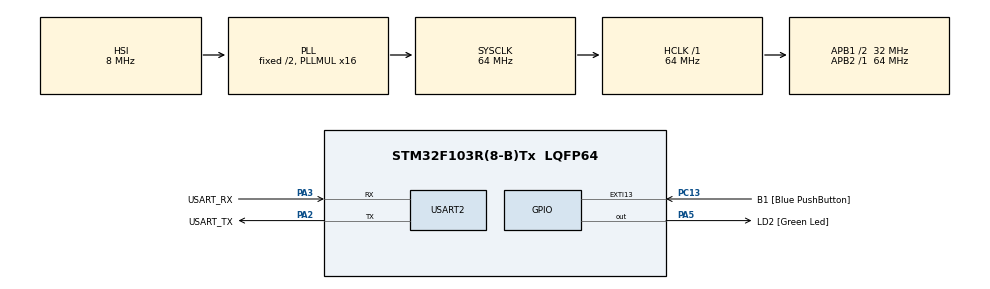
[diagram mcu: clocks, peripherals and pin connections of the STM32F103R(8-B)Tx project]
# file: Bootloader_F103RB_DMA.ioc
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Dma.Request0=USART2_RX
Dma.Request1=USART2_TX
Dma.USART2_RX.0.Direction=DMA_PERIPH_TO_MEMORY
Dma.USART2_RX.0.Instance=DMA1_Channel6
Dma.USART2_RX.0.MemDataAlignment=DMA_MDATAALIGN_BYTE
Dma.USART2_RX.0.MemInc=DMA_MINC_ENABLE
Dma.USART2_RX.0.Mode=DMA_NORMAL
Dma.USART2_RX.0.PeriphDataAlignment=DMA_PDATAALIGN_BYTE
Dma.USART2_RX.0.PeriphInc=DMA_PINC_DISABLE
Dma.USART2_RX.0.Priority=DMA_PRIORITY_LOW
Dma.USART2_TX.1.Direction=DMA_MEMORY_TO_PERIPH
Dma.USART2_TX.1.Instance=DMA1_Channel7
Dma.USART2_TX.1.MemDataAlignment=DMA_MDATAALIGN_BYTE
Dma.USART2_TX.1.MemInc=DMA_MINC_ENABLE
Dma.USART2_TX.1.Mode=DMA_NORMAL
Dma.USART2_TX.1.PeriphDataAlignment=DMA_PDATAALIGN_BYTE
Dma.USART2_TX.1.PeriphInc=DMA_PINC_DISABLE
Dma.USART2_TX.1.Priority=DMA_PRIORITY_LOW
IWDG.Prescaler=IWDG_PRESCALER_256
Mcu.Family=STM32F1
Mcu.Name=STM32F103R(8-B)Tx
Mcu.Package=LQFP64
NVIC.DMA1_Channel6_IRQn=true\:0\:0\:false\:false\:true\:false\:true\:true
NVIC.DMA1_Channel7_IRQn=true\:0\:0\:false\:false\:true\:false\:true\:true
NVIC.EXTI15_10_IRQn=true\:0\:0\:false\:false\:true\:true\:true\:true
NVIC.PriorityGroup=NVIC_PRIORITYGROUP_4
NVIC.USART2_IRQn=true\:0\:0\:false\:false\:true\:true\:true\:true
PA13.GPIO_Label=TMS
PA13.Mode=Serial_Wire
PA13.Signal=SYS_JTMS-SWDIO
PA14.GPIO_Label=TCK
PA14.Mode=Serial_Wire
PA14.Signal=SYS_JTCK-SWCLK
PA2.GPIO_Label=USART_TX
PA2.GPIO_Mode=GPIO_MODE_AF_PP
PA2.GPIO_PuPd=GPIO_NOPULL
PA2.GPIO_Speed=GPIO_SPEED_FREQ_LOW
PA2.Mode=Asynchronous
PA2.Signal=USART2_TX
PA3.GPIO_Label=USART_RX
PA3.GPIO_Mode=GPIO_MODE_AF_PP
PA3.GPIO_PuPd=GPIO_NOPULL
PA3.GPIO_Speed=GPIO_SPEED_FREQ_LOW
PA3.Mode=Asynchronous
PA3.Signal=USART2_RX
PA5.GPIO_Label=LD2 [Green Led]
PA5.GPIO_ModeDefaultOutputPP=GPIO_MODE_OUTPUT_PP
PA5.GPIO_PuPd=GPIO_NOPULL
PA5.GPIO_Speed=GPIO_SPEED_FREQ_LOW
PA5.Signal=GPIO_Output
PB3.GPIO_Label=SWO
PB3.Signal=SYS_JTDO-TRACESWO
PC13-TAMPER-RTC.GPIO_Label=B1 [Blue PushButton]
PC13-TAMPER-RTC.GPIO_PuPd=GPIO_NOPULL
PC13-TAMPER-RTC.Signal=GPXTI13
PC14-OSC32_IN.Mode=LSE-External-Oscillator
PC14-OSC32_IN.Signal=RCC_OSC32_IN
PC15-OSC32_OUT.Mode=LSE-External-Oscillator
PC15-OSC32_OUT.Signal=RCC_OSC32_OUT
PD0-OSC_IN.Mode=HSE-External-Clock-Source
PD0-OSC_IN.Signal=RCC_OSC_IN
PD1-OSC_OUT.Mode=HSE-External-Clock-Source
PD1-OSC_OUT.Signal=RCC_OSC_OUT
ProjectManager.HeapSize=0x200
ProjectManager.StackSize=0x400
ProjectManager.TargetToolchain=CMake
RCC.AHBFreq_Value=64000000
RCC.APB1CLKDivider=RCC_HCLK_DIV2
RCC.APB1Freq_Value=32000000
RCC.APB1TimFreq_Value=64000000
RCC.APB2Freq_Value=64000000
RCC.APB2TimFreq_Value=64000000
RCC.HCLKFreq_Value=64000000
RCC.PLLMUL=RCC_PLL_MUL16
RCC.RTCClockSelection=RCC_RTCCLKSOURCE_LSE
RCC.SYSCLKFreq_VALUE=64000000
RCC.SYSCLKSource=RCC_SYSCLKSOURCE_PLLCLK
RCC.USBFreq_Value=64000000
USART2.VirtualMode=VM_ASYNC
VP_CRC_VS_CRC.Mode=CRC_Activate
VP_IWDG_VS_IWDG.Mode=IWDG_Activate
board=NUCLEO-F103RB

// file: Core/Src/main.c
/* USER CODE BEGIN Header */
/*
TODOS:
  - Implement uart driver by self to reduce flash space
  - Fix includes
  - Calculate crc_accumulate by hand for report
adding external code from:
  AES-128 CTR: https://github.com/kokke/tiny-AES-c
  ECDSA: https://github.com/kmackay/micro-ecc
    https://asecuritysite.com/ecies/index
  CRC32: https://github.com/Steppeschool/stm32-custom-bootloader/tree/main
  SHA-256: https://github.com/B-Con/crypto-algorithms
*/
#ifdef DEBUG
#warning "DEBUG BUILD"
#endif
/**
  ******************************************************************************
  * @file           : main.c
  * @brief          : Main program body
  ******************************************************************************
  * @attention
  *
  * Copyright (c) 2026 STMicroelectronics.
  * All rights reserved.
  *
  * This software is licensed under terms that can be found in the LICENSE file
  * in the root directory of this software component.
  * If no LICENSE file comes with this software, it is provided AS-IS.
  *
  ******************************************************************************
  */
/* USER CODE END Header */
#include "main.h"

/* USER CODE BEGIN Includes */
#include "logging.h"
#include "Middleware/flash.h"
#include "Middleware/uart_reception.h"
#include "Middleware/metadata.h"
#if BL_LOG_LEVEL == BL_LOG_PRINTF
#warning "USING PRINTF"
#include "printf-stdarg.c"
#endif
/* USER CODE END Includes */

/* USER CODE BEGIN PD */
#define BL_VERSION_MAJOR 0
#define BL_VERSION_MINOR 1
#ifdef DEBUG
#define DBG_FORCE_UPDATE 1
#else
#define DBG_FORCE_UPDATE 0
#endif
/* USER CODE END PD */

CRC_HandleTypeDef hcrc;

// IWDG_HandleTypeDef hiwdg;

UART_HandleTypeDef huart2;
DMA_HandleTypeDef hdma_usart2_rx;
DMA_HandleTypeDef hdma_usart2_tx;

/* USER CODE BEGIN PV */
const uint8_t BL_Version[2] = { BL_VERSION_MAJOR, BL_VERSION_MINOR };
Metadata meta;
/* USER CODE END PV */

void SystemClock_Config(void);
static void MX_GPIO_Init(void);
static void MX_DMA_Init(void);
static void MX_USART2_UART_Init(void);
static void MX_CRC_Init(void);
// static void MX_IWDG_Init(void);
/* USER CODE BEGIN PFP */
void Task_BL_SetLED(void);
void Task_BL_BlinkLED(void);
static void goto_application(Metadata *meta);
static void check_for_update(Metadata *meta);
#if BL_LOG_LEVEL == BL_LOG_PRINTF
int uart_putchar(int c);
#endif
int Rollback_Check(Metadata *m);
/* USER CODE END PFP */

/* USER CODE BEGIN 0 */
volatile uint8_t uart_rx_done = 0;
volatile uint16_t uart_size = 0;
uint8_t header_buf[4]; // header buf contains 0xAA and 0xBB no size (6b->2b) added version in header 2b+2b=4b
// bool SLOTA_LATEST = true; // true = slot a contains latest firmware // false = slot b contains latest firmware

void HAL_UARTEx_RxEventCallback(UART_HandleTypeDef *huart, uint16_t Size)
{
    if (huart->Instance == USART2)
    {
        uart_size = Size;
        uart_rx_done = 1;
    }
}

int Rollback_Check(Metadata *m) {
  if (m->bootcount <= BOOT_COUNT_MAX) return 0;
  if (m->runtime_fault_count <= RUNTIME_BOOT_COUNT_MAX) return 0;
  m->SLOTA_LATEST = !meta.SLOTA_LATEST; // flip to previous slot
  m->bootcount = 0;
  m->image_state = IMG_STATE_REVERTED;
  Metadata_Save(m);
  return 1;
}
/* USER CODE END 0 */

int main(void)
{

  /* USER CODE BEGIN 1 */
  uint32_t reset_cause = RCC->CSR;
  __HAL_RCC_CLEAR_RESET_FLAGS(); // clear flags that tell you why the MCU reset as they are sticky
  /* USER CODE END 1 */

  /* MCU Configuration--------------------------------------------------------*/

  /* Reset of all peripherals, Initializes the Flash interface and the Systick. */
  HAL_Init();

  /* Configure the system clock */
  SystemClock_Config();

  /* Initialize all configured peripherals */
  MX_GPIO_Init();
  MX_DMA_Init();
  MX_USART2_UART_Init();
  MX_CRC_Init();

  /* USER CODE BEGIN 2 */
  Task_BL_SetLED();
  // DEBUG_PRINTF("Starting bootloader (%d.%d)...\r\n", BL_Version[0], BL_Version[1]); // ls /dev/tty.*
                                                                              // screen /dev/tty.usbmodem1103 115200
                                                                              // exit: Ctrl + A, then K
  BL_LOG("Starting bootloader (0.1)\r\n");
  Metadata_Load(&meta);

  // DEBUG_PRINTF("Metadata: Slot: %d, Boot Count: %d.\r\n", meta.SLOTA_LATEST, meta.bootcount);
  if (meta.image_state == IMG_STATE_PENDING) {
    meta.image_state = IMG_STATE_TRIAL;
    // reset bootcount in Metadata_UpdateAfterRecieve
    Metadata_Save(&meta);
  }

  if (meta.image_state == IMG_STATE_TRIAL) {
    Metadata_IncrementBootCount(&meta); // increment before jumping
    if (Rollback_Check(&meta)) {
      // DEBUG_PRINTF("Boot count exceeded! Rolling back to Slot %d.\r\n", meta.SLOTA_LATEST);
      BL_LOG("Bootcount exceeded. Rolling back to previous version.");
    }
  }

  if (meta.image_state == IMG_STATE_HEALTHY) {
    if (reset_cause & RCC_CSR_IWDGRSTF) { // iwdg reset. app failed to pet
        meta.runtime_fault_count++; // 10 resets allowed
        Metadata_Save(&meta);
        BL_LOG("IWDG reset detected\r\n");
    }
    if (Rollback_Check(&meta)) {
      BL_LOG("Runtime faults exceeded. Rolling back to previous version.");
    }
  }

  check_for_update(&meta);
  goto_application(&meta);
  /* USER CODE END 2 */

  /* Infinite loop */
  while (1)
  {

  }
}

void SystemClock_Config(void)
{
  RCC_OscInitTypeDef RCC_OscInitStruct = {0};
  RCC_ClkInitTypeDef RCC_ClkInitStruct = {0};

  /** Initializes the RCC Oscillators according to the specified parameters
  * in the RCC_OscInitTypeDef structure.
  */
  RCC_OscInitStruct.OscillatorType = RCC_OSCILLATORTYPE_HSI|RCC_OSCILLATORTYPE_LSI;
  RCC_OscInitStruct.HSIState = RCC_HSI_ON;
  RCC_OscInitStruct.HSICalibrationValue = RCC_HSICALIBRATION_DEFAULT;
  // RCC_OscInitStruct.LSIState = RCC_LSI_ON;
  RCC_OscInitStruct.PLL.PLLState = RCC_PLL_ON;
  RCC_OscInitStruct.PLL.PLLSource = RCC_PLLSOURCE_HSI_DIV2;
  RCC_OscInitStruct.PLL.PLLMUL = RCC_PLL_MUL16;
  if (HAL_RCC_OscConfig(&RCC_OscInitStruct) != HAL_OK)
  {
    Error_Handler();
  }

  /** Initializes the CPU, AHB and APB buses clocks
  */
  RCC_ClkInitStruct.ClockType = RCC_CLOCKTYPE_HCLK|RCC_CLOCKTYPE_SYSCLK
                              |RCC_CLOCKTYPE_PCLK1|RCC_CLOCKTYPE_PCLK2;
  RCC_ClkInitStruct.SYSCLKSource = RCC_SYSCLKSOURCE_PLLCLK;
  RCC_ClkInitStruct.AHBCLKDivider = RCC_SYSCLK_DIV1;
  RCC_ClkInitStruct.APB1CLKDivider = RCC_HCLK_DIV2;
  RCC_ClkInitStruct.APB2CLKDivider = RCC_HCLK_DIV1;

  if (HAL_RCC_ClockConfig(&RCC_ClkInitStruct, FLASH_LATENCY_2) != HAL_OK)
  {
    Error_Handler();
  }
}

static void MX_CRC_Init(void)
{

  hcrc.Instance = CRC;
  if (HAL_CRC_Init(&hcrc) != HAL_OK)
  {
    Error_Handler();
  }

}

// static void MX_IWDG_Init(void)
// {

//   /* USER CODE BEGIN IWDG_Init 0 */

//   /* USER CODE END IWDG_Init 0 */

//   /* USER CODE BEGIN IWDG_Init 1 */

//   /* USER CODE END IWDG_Init 1 */
//   hiwdg.Instance = IWDG;
//   hiwdg.Init.Prescaler = IWDG_PRESCALER_256;
//   hiwdg.Init.Reload = 4095;
//   if (HAL_IWDG_Init(&hiwdg) != HAL_OK)
//   {
//     Error_Handler();
//   }
//   /* USER CODE BEGIN IWDG_Init 2 */

//   /* USER CODE END IWDG_Init 2 */

// }

static void MX_USART2_UART_Init(void)
{

  huart2.Instance = USART2;
  huart2.Init.BaudRate = 115200;
  huart2.Init.WordLength = UART_WORDLENGTH_8B;
  huart2.Init.StopBits = UART_STOPBITS_1;
  huart2.Init.Parity = UART_PARITY_NONE;
  huart2.Init.Mode = UART_MODE_TX_RX;
  huart2.Init.HwFlowCtl = UART_HWCONTROL_NONE;
  huart2.Init.OverSampling = UART_OVERSAMPLING_16;
  if (HAL_UART_Init(&huart2) != HAL_OK)
  {
    Error_Handler();
  }

}

static void MX_DMA_Init(void)
{

  /* DMA controller clock enable */
  __HAL_RCC_DMA1_CLK_ENABLE();

  /* DMA interrupt init */
  /* DMA1_Channel6_IRQn interrupt configuration */
  HAL_NVIC_SetPriority(DMA1_Channel6_IRQn, 0, 0);
  HAL_NVIC_EnableIRQ(DMA1_Channel6_IRQn);
  /* DMA1_Channel7_IRQn interrupt configuration */
  HAL_NVIC_SetPriority(DMA1_Channel7_IRQn, 0, 0);
  HAL_NVIC_EnableIRQ(DMA1_Channel7_IRQn);

}

static void MX_GPIO_Init(void)
{
  GPIO_InitTypeDef GPIO_InitStruct = {0};

  /* GPIO Ports Clock Enable */
  __HAL_RCC_GPIOC_CLK_ENABLE();
  __HAL_RCC_GPIOD_CLK_ENABLE();
  __HAL_RCC_GPIOA_CLK_ENABLE();
  __HAL_RCC_GPIOB_CLK_ENABLE();

  /*Configure GPIO pin Output Level */
  HAL_GPIO_WritePin(LD2_GPIO_Port, LD2_Pin, GPIO_PIN_RESET);

  /*Configure GPIO pin : B1_Pin */
  GPIO_InitStruct.Pin = B1_Pin;
  GPIO_InitStruct.Mode = GPIO_MODE_IT_RISING;
  GPIO_InitStruct.Pull = GPIO_NOPULL;
  HAL_GPIO_Init(B1_GPIO_Port, &GPIO_InitStruct);

  /*Configure GPIO pin : LD2_Pin */
  GPIO_InitStruct.Pin = LD2_Pin;
  GPIO_InitStruct.Mode = GPIO_MODE_OUTPUT_PP;
  GPIO_InitStruct.Pull = GPIO_NOPULL;
  GPIO_InitStruct.Speed = GPIO_SPEED_FREQ_LOW;
  HAL_GPIO_Init(LD2_GPIO_Port, &GPIO_InitStruct);

  /* EXTI interrupt init*/
  HAL_NVIC_SetPriority(EXTI15_10_IRQn, 0, 0);
  HAL_NVIC_EnableIRQ(EXTI15_10_IRQn);

}

/* USER CODE BEGIN 4 */

#if BL_LOG_LEVEL == BL_LOG_PRINTF
int uart_putchar(int c)
{
  HAL_UART_Transmit(&huart2, (uint8_t *)&c, 1, HAL_MAX_DELAY);
  return c;
}
#endif

void Task_BL_SetLED(void) {
  HAL_GPIO_WritePin(LD2_GPIO_Port, LD2_Pin, GPIO_PIN_SET);
}

void Task_BL_BlinkLED(void) {
  HAL_GPIO_WritePin(LD2_GPIO_Port, LD2_Pin, GPIO_PIN_SET);
  HAL_Delay(1000);
  HAL_GPIO_WritePin(LD2_GPIO_Port, LD2_Pin, GPIO_PIN_RESET);
  HAL_Delay(1000);
}

static void goto_application(Metadata *meta) {
  if (meta->SLOTA_LATEST) {
    if ((*(volatile uint32_t *)SLOTA_START_ADDRESS) == 0xFFFFFFFF) {
      BL_LOG("No app found, staying in bootloader...\r\n");
      return;
    } else {
      BL_LOG("Jumping to application...\r\n");
      HAL_GPIO_WritePin(LD2_GPIO_Port, LD2_Pin, GPIO_PIN_RESET);
      void (*app_reset_handler)(void) = (void *) ( *(volatile uint32_t *) (SLOTA_START_ADDRESS + 4U)); // slot A's reset handler
      //   HAL_DeInit();        // de-init peripherals + mask SysTick IRQ
      // SysTick->CTRL = 0;  // fully stop the counter itself
      // __disable_irq(); // EXTI interrupt enabled (blue button, EXTI15_10_IRQn). If fired during/after jump, before app sets up SCB->VTOR, will call the bootloader's ISR handler — which no longer has a valid stack context
      SCB->VTOR = SLOTA_START_ADDRESS; // so the app doesn't need to do it
      __set_MSP(*(volatile uint32_t *)SLOTA_START_ADDRESS); //  used by CPU for exception handlers, HardFaults, SysTick, UART interrupts, any ISR. psp = application thread code
      // #ifdef DEBUG
      // __HAL_DBGMCU_FREEZE_IWDG();  // don't let breakpoints trigger resets
      // #endif
      // MX_IWDG_Init();
      app_reset_handler(); // call function pointer
    }
  } else {
    if ((*(volatile uint32_t *)SLOTB_START_ADDRESS) == 0xFFFFFFFF) {
      BL_LOG("No app found, staying in bootloader...\r\n");
      return;
    } else {
      BL_LOG("Jumping to application...\r\n");
      HAL_GPIO_WritePin(LD2_GPIO_Port, LD2_Pin, GPIO_PIN_RESET);
      void (*app_reset_handler)(void) = (void *) ( *(volatile uint32_t *) (SLOTB_START_ADDRESS + 4U)); // slot B's reset handler
      SCB->VTOR = SLOTB_START_ADDRESS;
      __set_MSP(*(volatile uint32_t *)SLOTB_START_ADDRESS);
      // #ifdef DEBUG
      // __HAL_DBGMCU_FREEZE_IWDG();  // don't let breakpoints trigger resets
      // #endif
      // MX_IWDG_Init();
      app_reset_handler();
    }
  }
}
/* User button nucleo f103rb:
Pressed State: Low (HAL_GPIO_ReadPin returns GPIO_PIN_RESET or 0)
Released State: High (HAL_GPIO_ReadPin returns GPIO_PIN_SET or 1)
*/
static void check_for_update(Metadata *meta) {

  GPIO_PinState Update_Pin_State;
  uint32_t end_tick = HAL_GetTick() + 5000; // 5 seconds from now

  BL_LOG("Press the User Button B1 PC13 to trigger UART update...\r\n");
  do {
    Update_Pin_State = HAL_GPIO_ReadPin( B1_GPIO_Port, B1_Pin );
    uint32_t current_tick = HAL_GetTick();

    if ((Update_Pin_State == GPIO_PIN_RESET ) || (current_tick > end_tick)) { // either button not pressed OR current tick > end_tick after 5 second window
      break;
    }
  } while (1);
  if (Update_Pin_State == GPIO_PIN_RESET /*|| DBG_FORCE_UPDATE*/) {
    BL_LOG("Starting Firmware Download!\r\n");
    HAL_UART_Transmit(&huart2, (uint8_t *)"READY\r\n", 7, 100);
    uart_rx_done = 0; uart_size = 0;
    HAL_UARTEx_ReceiveToIdle_DMA(&huart2, header_buf, sizeof(header_buf));
    __HAL_DMA_DISABLE_IT(&hdma_usart2_rx, DMA_IT_HT);
    while (!uart_rx_done || uart_size != sizeof(header_buf)) {}
    if (UART_Receive(header_buf, meta) == RECEP_OK) {
      Metadata_UpdateAfterRecieve(meta, meta->SLOTA_LATEST);
      HAL_UART_Transmit(&huart2, (uint8_t *)"OK\r\n", 4, 100);
      // DEBUG_PRINTF("Firmware update done! Programming into slot %d.\r\nRebooting...\r\n", meta->SLOTA_LATEST); // slot A = 1, B = 0
      BL_LOG("Firmware update done!\r\nRebooting...\r\n");
      HAL_Delay(100);
      HAL_NVIC_SystemReset();
    } else {
      BL_LOG("Firmware update error! Halt!\r\n"); while (1) { Task_BL_BlinkLED(); };
    }
    // will fall to goto_application() as button not pressed within 5 secs
  }
}
/* USER CODE END 4 */

void Error_Handler(void)
{
  __disable_irq();
  while (1)
  {
  }
}
